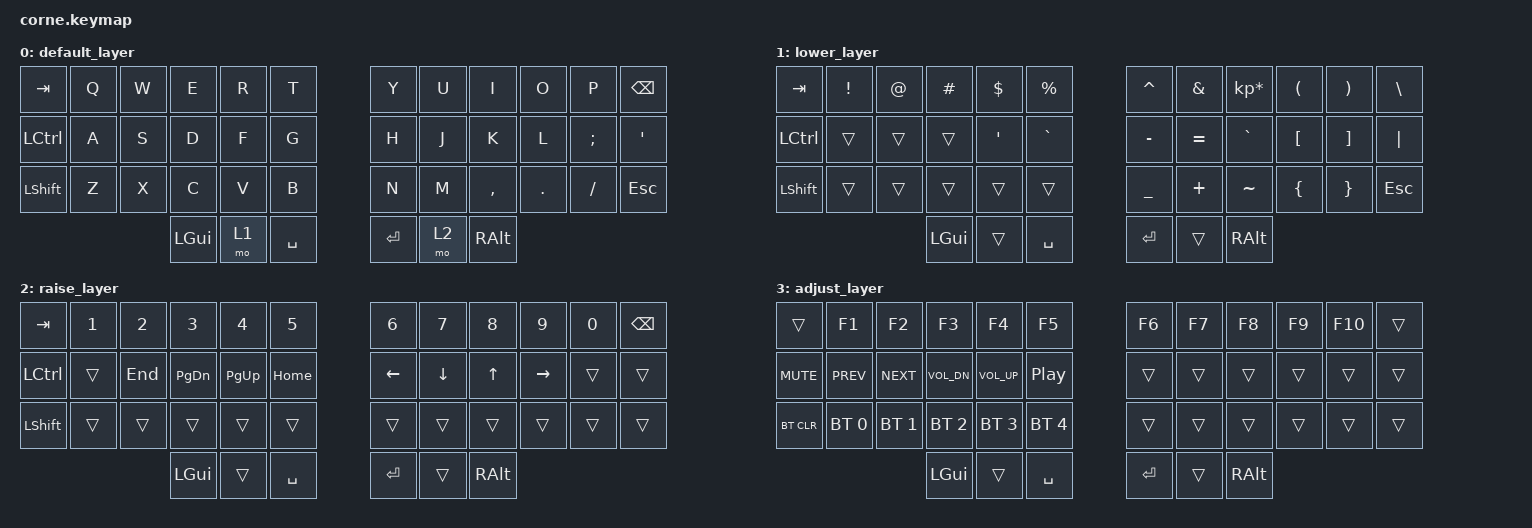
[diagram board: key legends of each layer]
/*
 * Copyright (c) 2020 The ZMK Contributors
 *
 * SPDX-License-Identifier: MIT
 */

#include <behaviors.dtsi>
#include <dt-bindings/zmk/keys.h>
#include <dt-bindings/zmk/bt.h>

/ {
        conditional_layers {
            compatible = "zmk,conditional-layers";
            tri_layer {
                if-layers = <1 2>;
                then-layer = <3>;
            };
        };

        keymap {
                compatible = "zmk,keymap";

                default_layer {
// -----------------------------------------------------------------------------------------
// |  TAB |  Q  |  W  |  E  |  R  |  T  |   |  Y  |  U   |  I  |  O  |  P  | BKSP |
// | CTRL |  A  |  S  |  D  |  F  |  G  |   |  H  |  J   |  K  |  L  |  ;  |  '   |
// | SHFT |  Z  |  X  |  C  |  V  |  B  |   |  N  |  M   |  ,  |  .  |  /  | ESC  |
//                    | GUI | LWR | SPC |   | ENT | RSE  | ALT |
                        bindings = <
   &kp TAB   &kp Q &kp W &kp E &kp R &kp T   &kp Y &kp U  &kp I     &kp O   &kp P    &kp BSPC
   &kp LCTRL &kp A &kp S &kp D &kp F &kp G   &kp H &kp J  &kp K     &kp L   &kp SEMI &kp SQT
   &kp LSHFT &kp Z &kp X &kp C &kp V &kp B   &kp N &kp M  &kp COMMA &kp DOT &kp FSLH &kp ESC
                  &kp LGUI &mo 1 &kp SPACE   &kp RET &mo 2 &kp RALT
                        >;
                };

                lower_layer {
// -----------------------------------------------------------------------------------------
// |  TAB |  !  |  @  |  #  |  $  |  %  |   |  ^  |  &  |  *  |  (  |  )  |  \  |
// | CTRL |     |     |     |  '  |  `  |   |  -  |  =  |  `  |  [  |  ]  | "|" |
// | SHFT |     |     |     |     |     |   |  _  |  +  |  ~  |  {  |  }  | ESC |
//                    | GUI |     | SPC |   | ENT |     | ALT |
                        bindings = <
   &kp  TAB  &kp EXCL &kp AT &kp HASH &kp DLLR &kp PRCNT   &kp CARET &kp AMPS  &kp KP_MULTIPLY &kp LPAR &kp RPAR &kp BSLH
   &kp LCTRL &trans   &trans &trans   &kp SQT  &kp GRAVE   &kp MINUS &kp EQUAL &kp GRAVE       &kp LBKT &kp RBKT  &kp PIPE
   &kp LSHFT &trans   &trans &trans   &trans   &trans      &kp UNDER &kp PLUS  &kp TILDE       &kp LBRC &kp RBRC  &kp ESC
                             &kp LGUI &trans   &kp SPACE   &kp RET   &trans    &kp RALT
                        >;
                };

                raise_layer {
// -----------------------------------------------------------------------------------------
// |  TAB |  1  |  2  |   3   |   4   |   5   |   |  6  |  7  |  8  |  9  |  0  | BKSP |
// | CTRL |     | END | PG_DN | PG_UP |  HOME |   | LFT | DWN |  UP | RGT |     |      |
// | SHFT |     |     |       |       |       |   |     |     |     |     |     |      |
//                    | GUI |       |  SPC  |   | ENT |     | ALT |
                        bindings = <
   &kp TAB    &kp N1       &kp N2       &kp N3       &kp N4       &kp N5         &kp N6   &kp N7   &kp N8 &kp N9    &kp N0 &kp BSPC
   &kp LCTRL  &trans       &kp END      &kp PG_DN    &kp PG_UP    &kp HOME       &kp LEFT &kp DOWN &kp UP &kp RIGHT &trans &trans
   &kp LSHFT  &trans       &trans       &trans       &trans       &trans         &trans   &trans   &trans &trans    &trans &trans
                                    &kp LGUI     &trans       &kp SPACE      &kp RET  &trans   &kp RALT
                        >;
                };



                adjust_layer {
// -----------------------------------------------------------------------------------------
// |        |  F1  |  F2  | F3    | F4    |  F5        |   |  F6 |  F7 |  F8 |  F9 |  F10 | BKSP |
// | K_MUTE | Prev | Next | Vol - | Vol + | Play/Pause |   |     |     |     |     |      |      |
// | BTCLR  | BT1  | BT2  | BT3   | BT4   | BT5        |   |     |     |     |     |      |      |
//                    | GUI |     | SPC |   | ENT |     | ALT |
                        bindings = <
   &trans     &kp F1        &kp F2          &kp F3          &kp F4          &kp F5          &kp F6  &kp F7  &kp F8 &kp F9   &kp F10 &trans
   &kp K_MUTE &kp C_PREV    &kp C_NEXT      &kp C_VOL_DN    &kp C_VOL_UP    &kp C_PP        &trans  &trans  &trans &trans   &trans &trans
   &bt BT_CLR &bt BT_SEL 0  &bt BT_SEL 1    &bt BT_SEL 2    &bt BT_SEL 3    &bt BT_SEL 4    &trans  &trans  &trans &trans   &trans &trans
                             &kp LGUI &trans   &kp SPACE   &kp RET   &trans    &kp RALT
                        >;
                };
        };
};
